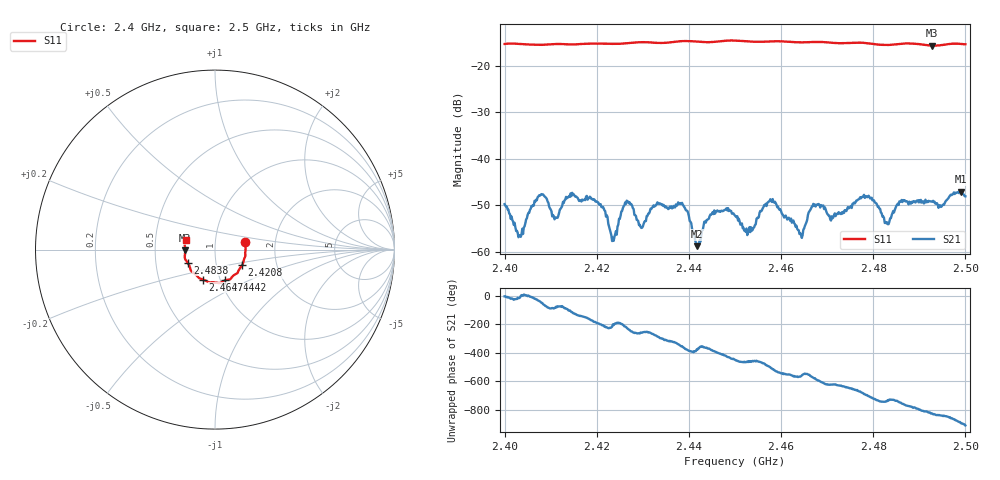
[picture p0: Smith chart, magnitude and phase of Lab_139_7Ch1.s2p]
# Hz S RI R 50
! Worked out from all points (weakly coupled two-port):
!   601 points, 2.4 GHz to 2.5 GHz, reference 50 ohm
!   highest |S21| = -47.04 dB at 2.499 GHz (marker M1); lowest = -58.8 dB at 2.4417 GHz (marker M2)
!   lowest |S11| = -15.6 dB at 2.4928 GHz (marker M3), VSWR 1.40, Z = 35.8 - j0.363 ohm
!   |S11| at or under -10 dB: start of sweep to end of sweep
!   S12 and S22 are empty: the file has one direction only
!   S11 on the Smith chart (normalised r, x): 2.4 GHz: 1.40, +0.12; 2.4208 GHz: 1.33, -0.24; 2.4442 GHz: 1.05, -0.37; 2.4647 GHz: 0.83, -0.29; 2.4838 GHz: 0.73, -0.11; 2.5 GHz: 0.72, +0.08
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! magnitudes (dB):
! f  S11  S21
! 2.4 GHz  -15.3  -49.8
! 2.4035 GHz  -15.3  -56.8
! 2.4077 GHz  -15.4  -47.9
! 2.4167 GHz  -15.3  -49.2
! 2.4208 GHz  -15.2  -49.8
! 2.4235 GHz  -15.2  -57.0
! 2.4263 GHz  -15.1  -49.7
! 2.4297 GHz  -14.9  -54.9
! 2.4333 GHz  -15.0  -49.6
! 2.4387 GHz  -14.6  -49.9
! 2.4417 GHz  -14.7  -58.8
! 2.4442 GHz  -14.9  -53.0
! 2.45 GHz  -14.5  -52.2
! 2.4582 GHz  -14.7  -48.7
! 2.4647 GHz  -14.9  -56.5
! 2.4667 GHz  -14.8  -50.3
! 2.4785 GHz  -15.1  -48.0
! 2.4833 GHz  -15.5  -54.1
! 2.4838 GHz  -15.4  -52.8
! 2.4928 GHz  -15.6  -49.2
! 2.499 GHz  -15.3  -47.0
! 2.5 GHz  -15.3  -48.1
